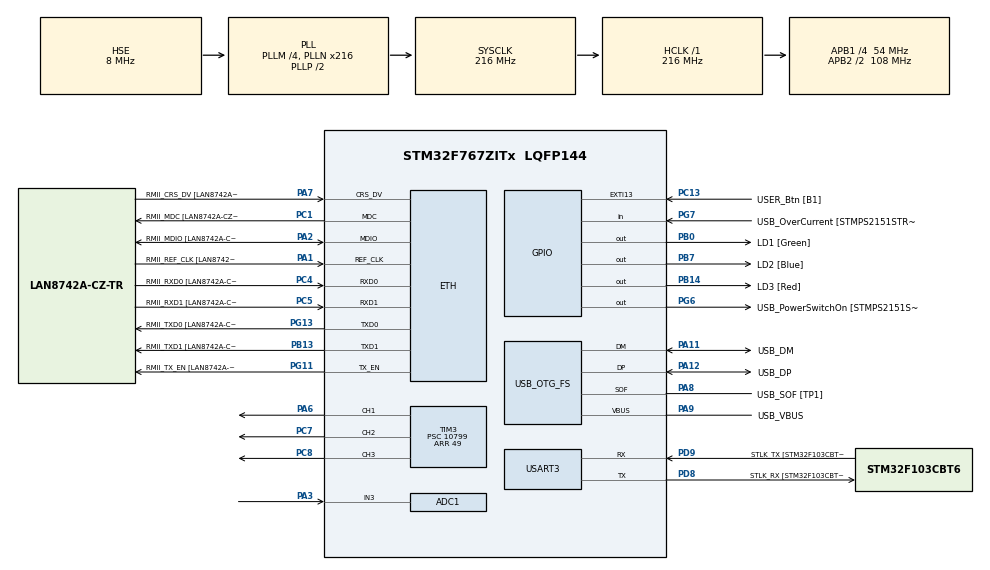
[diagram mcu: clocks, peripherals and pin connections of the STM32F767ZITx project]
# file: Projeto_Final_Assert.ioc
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ADC1.Channel-0\#ChannelRegularConversion=ADC_CHANNEL_3
ADC1.NbrOfConversionFlag=1
ADC1.Rank-0\#ChannelRegularConversion=1
ADC1.SamplingTime-0\#ChannelRegularConversion=ADC_SAMPLETIME_3CYCLES
ADC1.master=1
CORTEX_M7.default_mode_Activation=1
ETH.MediaInterface=HAL_ETH_RMII_MODE
ETH.PHY_Name=LAN8742A_PHY_ADDRESS
ETH.PHY_Value=0
ETH.PhyAddress=0
Mcu.Family=STM32F7
Mcu.Name=STM32F767ZITx
Mcu.Package=LQFP144
NVIC.PriorityGroup=NVIC_PRIORITYGROUP_4
PA1.GPIO_Label=RMII_REF_CLK [LAN8742A-CZ-TR_REFCLK0]
PA1.Mode=RMII
PA1.Signal=ETH_REF_CLK
PA10.GPIO_Label=USB_ID
PA10.Signal=USB_OTG_FS_ID
PA11.GPIO_Label=USB_DM
PA11.Mode=Device_Only
PA11.Signal=USB_OTG_FS_DM
PA12.GPIO_Label=USB_DP
PA12.Mode=Device_Only
PA12.Signal=USB_OTG_FS_DP
PA13.GPIO_Label=TMS
PA13.Mode=Serial_Wire
PA13.Signal=SYS_JTMS-SWDIO
PA14.GPIO_Label=TCK
PA14.Mode=Serial_Wire
PA14.Signal=SYS_JTCK-SWCLK
PA2.GPIO_Label=RMII_MDIO [LAN8742A-CZ-TR_MDIO]
PA2.Mode=RMII
PA2.Signal=ETH_MDIO
PA3.Signal=ADCx_IN3
PA6.Signal=S_TIM3_CH1
PA7.GPIO_Label=RMII_CRS_DV [LAN8742A-CZ-TR_CRS_DV]
PA7.Mode=RMII
PA7.Signal=ETH_CRS_DV
PA8.GPIO_Label=USB_SOF [TP1]
PA8.Mode=Activate_SOF_FS
PA8.Signal=USB_OTG_FS_SOF
PA9.GPIO_Label=USB_VBUS
PA9.Mode=Activate_VBUS
PA9.Signal=USB_OTG_FS_VBUS
PB0.GPIO_Label=LD1 [Green]
PB0.Signal=GPIO_Output
PB13.GPIO_Label=RMII_TXD1 [LAN8742A-CZ-TR_TXD1]
PB13.Mode=RMII
PB13.Signal=ETH_TXD1
PB14.GPIO_Label=LD3 [Red]
PB14.Signal=GPIO_Output
PB3.GPIO_Label=SWO
PB3.Signal=SYS_JTDO-SWO
PB7.GPIO_Label=LD2 [Blue]
PB7.Signal=GPIO_Output
PC1.GPIO_Label=RMII_MDC [LAN8742A-CZ-TR_MDC]
PC1.Mode=RMII
PC1.Signal=ETH_MDC
PC13.GPIO_Label=USER_Btn [B1]
PC13.Signal=GPXTI13
PC14/OSC32_IN.Mode=LSE-External-Oscillator
PC14/OSC32_IN.Signal=RCC_OSC32_IN
PC15/OSC32_OUT.Mode=LSE-External-Oscillator
PC15/OSC32_OUT.Signal=RCC_OSC32_OUT
PC4.GPIO_Label=RMII_RXD0 [LAN8742A-CZ-TR_RXD0]
PC4.Mode=RMII
PC4.Signal=ETH_RXD0
PC5.GPIO_Label=RMII_RXD1 [LAN8742A-CZ-TR_RXD1]
PC5.Mode=RMII
PC5.Signal=ETH_RXD1
PC7.Signal=S_TIM3_CH2
PC8.Signal=S_TIM3_CH3
PD8.GPIO_Label=STLK_RX [STM32F103CBT6_PA3]
PD8.Mode=Asynchronous
PD8.Signal=USART3_TX
PD9.GPIO_Label=STLK_TX [STM32F103CBT6_PA2]
PD9.Mode=Asynchronous
PD9.Signal=USART3_RX
PG11.GPIO_Label=RMII_TX_EN [LAN8742A-CZ-TR_TXEN]
PG11.Mode=RMII
PG11.Signal=ETH_TX_EN
PG13.GPIO_Label=RMII_TXD0 [LAN8742A-CZ-TR_TXD0]
PG13.Mode=RMII
PG13.Signal=ETH_TXD0
PG6.GPIO_Label=USB_PowerSwitchOn [STMPS2151STR_EN]
PG6.Signal=GPIO_Output
PG7.GPIO_Label=USB_OverCurrent [STMPS2151STR_FAULT]
PG7.Signal=GPIO_Input
PH0/OSC_IN.GPIO_Label=MCO [STM32F103CBT6_PA8]
PH0/OSC_IN.Mode=HSE-External-Clock-Source
PH0/OSC_IN.Signal=RCC_OSC_IN
PH1/OSC_OUT.Mode=HSE-External-Clock-Source
PH1/OSC_OUT.Signal=RCC_OSC_OUT
ProjectManager.HeapSize=0x200
ProjectManager.StackSize=0x400
ProjectManager.TargetToolchain=STM32CubeIDE
RCC.48MHZClocksFreq_Value=24000000
RCC.AHBFreq_Value=216000000
RCC.APB1CLKDivider=RCC_HCLK_DIV4
RCC.APB1Freq_Value=54000000
RCC.APB1TimFreq_Value=108000000
RCC.APB2CLKDivider=RCC_HCLK_DIV2
RCC.APB2Freq_Value=108000000
RCC.APB2TimFreq_Value=216000000
RCC.CortexFreq_Value=216000000
RCC.HCLKFreq_Value=216000000
RCC.HSE_VALUE=8000000
RCC.HSI_VALUE=16000000
RCC.PLLM=4
RCC.PLLMUL=RCC_PLL_MUL9
RCC.PLLN=216
RCC.PLLQ=9
RCC.PRESCALERUSB=RCC_USBCLKSOURCE_PLL_DIV1_5
RCC.SYSCLKFreq_VALUE=216000000
RCC.SYSCLKSource=RCC_SYSCLKSOURCE_PLLCLK
RCC.SYSCLKSourceVirtual=RCC_SYSCLKSOURCE_PLLCLK
RCC.USBFreq_Value=48000000
RCC.VCOOutputFreq_Value=432000000
SH.ADCx_IN3.0=ADC1_IN3,IN3
SH.S_TIM3_CH1.0=TIM3_CH1,PWM Generation1 CH1
SH.S_TIM3_CH2.0=TIM3_CH2,PWM Generation2 CH2
SH.S_TIM3_CH3.0=TIM3_CH3,PWM Generation3 CH3
TIM3.Channel-PWM\ Generation1\ CH1=TIM_CHANNEL_1
TIM3.Channel-PWM\ Generation2\ CH2=TIM_CHANNEL_2
TIM3.Channel-PWM\ Generation3\ CH3=TIM_CHANNEL_3
TIM3.Period=49
TIM3.Prescaler=10799
TIM6.Period=49
TIM6.Prescaler=10799
USART3.VirtualMode-Asynchronous=VM_ASYNC
USB_OTG_FS.VirtualMode=Device_Only
VP_TIM6_VS_ClockSourceINT.Mode=Enable_Timer
VP_TIM7_VS_ClockSourceINT.Mode=Enable_Timer
board=NUCLEO-F767ZI

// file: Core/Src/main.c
/* USER CODE BEGIN Header */
/**
  ******************************************************************************
  * @file           : main.c
  * @brief          : Main program body
  ******************************************************************************
  */
/* USER CODE END Header */
#include "main.h"
#include "string.h"

/* USER CODE BEGIN Includes */
#include "Bsp.h"
#include "Sampler.h"
#include "LedPwm.h"
#include "SerialCmd.h"
#include "Button.h"
#include <stdio.h>
#include <stdint.h>
#include <stdbool.h>
/* USER CODE END Includes */

#if defined ( __ICCARM__ ) /*!< IAR Compiler */
#pragma location=0x2007c000
ETH_DMADescTypeDef  DMARxDscrTab[ETH_RX_DESC_CNT]; /* Ethernet Rx DMA Descriptors */
#pragma location=0x2007c0a0
ETH_DMADescTypeDef  DMATxDscrTab[ETH_TX_DESC_CNT]; /* Ethernet Tx DMA Descriptors */

#elif defined ( __CC_ARM )  /* MDK ARM Compiler */

__attribute__((at(0x2007c000))) ETH_DMADescTypeDef  DMARxDscrTab[ETH_RX_DESC_CNT]; /* Ethernet Rx DMA Descriptors */
__attribute__((at(0x2007c0a0))) ETH_DMADescTypeDef  DMATxDscrTab[ETH_TX_DESC_CNT]; /* Ethernet Tx DMA Descriptors */

#elif defined ( __GNUC__ ) /* GNU Compiler */

ETH_DMADescTypeDef DMARxDscrTab[ETH_RX_DESC_CNT] __attribute__((section(".RxDecripSection"))); /* Ethernet Rx DMA Descriptors */
ETH_DMADescTypeDef DMATxDscrTab[ETH_TX_DESC_CNT] __attribute__((section(".TxDecripSection")));   /* Ethernet Tx DMA Descriptors */
#endif

ETH_TxPacketConfig TxConfig;

ADC_HandleTypeDef hadc1;

ETH_HandleTypeDef heth;

TIM_HandleTypeDef htim3;
TIM_HandleTypeDef htim6;
TIM_HandleTypeDef htim7;

UART_HandleTypeDef huart3;

PCD_HandleTypeDef hpcd_USB_OTG_FS;

/* USER CODE BEGIN PV */
/// Quantidade de ciclos de 5ms necessarios para completar 1 segundo (200 * 5ms = 1000ms)
#define dTICKS_PER_SECOND   200

/// Tamanho maximo seguro para o buffer de transmissao de texto da UART
#define dTX_BUFFER_SIZE     128

// Contador local para gerenciar o intervalo de 1 segundo da telemetria
uint8_t tickCounter = 0;
/* USER CODE END PV */

void SystemClock_Config(void);
static void MPU_Config(void);
static void MX_GPIO_Init(void);
static void MX_ADC1_Init(void);
static void MX_ETH_Init(void);
static void MX_USART3_UART_Init(void);
static void MX_USB_OTG_FS_PCD_Init(void);
static void MX_TIM6_Init(void);
static void MX_TIM3_Init(void);
static void MX_TIM7_Init(void);

int main(void)
{

  /* MPU Configuration--------------------------------------------------------*/
  MPU_Config();

  /* MCU Configuration--------------------------------------------------------*/

  /* Reset of all peripherals, Initializes the Flash interface and the Systick. */
  HAL_Init();

  /* Configure the system clock */
  SystemClock_Config();

  /* Initialize all configured peripherals */
  MX_GPIO_Init();
  MX_ADC1_Init();
  MX_ETH_Init();
  MX_USART3_UART_Init();
  MX_USB_OTG_FS_PCD_Init();
  MX_TIM6_Init();
  MX_TIM3_Init();
  MX_TIM7_Init();
  /* USER CODE BEGIN 2 */
  // Agora sim! O hardware principal esta ligado. Podemos iniciar os modulos:
  Bsp_Init();
  Sampler_Init();
  LedPwm_Init();
  SerialCmd_Init();
  Button_Init();
  /* USER CODE END 2 */

  /* Infinite loop */
  while (1)
  {

    /* USER CODE BEGIN 3 */
    // Processa de forma continua as entradas de interface (Nao bloqueantes)
    Button_Process();
    SerialCmd_Process();

    // 3.1. Verificacao do gatilho do temporizador de amostragem (A cada 5 ms)
    if (Bsp_GetSamplingFlag() == true)
    {
        Bsp_ClearSamplingFlag();

        // Incrementa a contagem de tempo para a telemetria de 1 segundo
        tickCounter++;

        // REQUISITO 3.5: Se o botao congelou a operacao, pula a leitura e atuacao
        if (Button_IsSystemFrozen() == false)
        {
            // Executa a leitura do ADC por Polling no laco principal (Requisito 3.1)
            uint16_t rawAdc = Bsp_ReadAdc();

            // Envia a amostra bruta para ser acumulada no filtro de media (Requisito 3.2)
            Sampler_ProcessNewSample(rawAdc);
        }

        // 3.2. Verifica se a janela de filtragem (100 amostras / 500 ms) foi concluida
        if (Sampler_IsNewAverageReady() == true)
        {
            Sampler_ClearAverageFlag();

            // Recupera a media convertida para 0 a 100%
            uint8_t currentVolume = Sampler_GetFilteredPercentage();

            // Aplica a nova intensidade apenas ao LED selecionado no momento (Requisito 3.3)
            LedPwm_UpdateActiveLedIntensity(currentVolume);
        }

        // REQUISITO 3.6: Verifica se transcorreu o intervalo de 1 segundo (200 ciclos de 5ms)
        if (tickCounter >= dTICKS_PER_SECOND)
        {
            tickCounter = 0; // Reinicia o temporizador local da telemetria

            char txBuffer[dTX_BUFFER_SIZE];

            // Determina a string de estado de congelamento exigida pela especificacao
            const char *stateStr = (Button_IsSystemFrozen() == true) ? "OFF" : "ON";

            // Formata a string de saida seguindo rigorosamente o padrao exato exigido
            snprintf(txBuffer, dTX_BUFFER_SIZE,
                     "VALUE: %u%% || LED1: %u%% aceso || LED2: %u%% aceso || LED3: %u%% aceso || STATE: %s\r\n",
                     Sampler_GetFilteredPercentage(),
                     LedPwm_GetLedDuty(eBSP_LED_1),
                     LedPwm_GetLedDuty(eBSP_LED_2),
                     LedPwm_GetLedDuty(eBSP_LED_3),
                     stateStr);

            // Transmite os dados formatados via USART3
            Bsp_TransmitUartString(txBuffer);
        }
    }
  }
  /* USER CODE END 3 */
}

void SystemClock_Config(void)
{
  RCC_OscInitTypeDef RCC_OscInitStruct = {0};
  RCC_ClkInitTypeDef RCC_ClkInitStruct = {0};

  /** Configure LSE Drive Capability
  */
  HAL_PWR_EnableBkUpAccess();

  /** Configure the main internal regulator output voltage
  */
  __HAL_RCC_PWR_CLK_ENABLE();
  __HAL_PWR_VOLTAGESCALING_CONFIG(PWR_REGULATOR_VOLTAGE_SCALE1);

  /** Initializes the RCC Oscillators according to the specified parameters
  * in the RCC_OscInitTypeDef structure.
  */
  RCC_OscInitStruct.OscillatorType = RCC_OSCILLATORTYPE_HSE;
  RCC_OscInitStruct.HSEState = RCC_HSE_BYPASS;
  RCC_OscInitStruct.PLL.PLLState = RCC_PLL_ON;
  RCC_OscInitStruct.PLL.PLLSource = RCC_PLLSOURCE_HSE;
  RCC_OscInitStruct.PLL.PLLM = 4;
  RCC_OscInitStruct.PLL.PLLN = 216;
  RCC_OscInitStruct.PLL.PLLP = RCC_PLLP_DIV2;
  RCC_OscInitStruct.PLL.PLLQ = 9;
  RCC_OscInitStruct.PLL.PLLR = 2;
  if (HAL_RCC_OscConfig(&RCC_OscInitStruct) != HAL_OK)
  {
    Error_Handler();
  }

  /** Activate the Over-Drive mode
  */
  if (HAL_PWREx_EnableOverDrive() != HAL_OK)
  {
    Error_Handler();
  }

  /** Initializes the CPU, AHB and APB buses clocks
  */
  RCC_ClkInitStruct.ClockType = RCC_CLOCKTYPE_HCLK|RCC_CLOCKTYPE_SYSCLK
                              |RCC_CLOCKTYPE_PCLK1|RCC_CLOCKTYPE_PCLK2;
  RCC_ClkInitStruct.SYSCLKSource = RCC_SYSCLKSOURCE_PLLCLK;
  RCC_ClkInitStruct.AHBCLKDivider = RCC_SYSCLK_DIV1;
  RCC_ClkInitStruct.APB1CLKDivider = RCC_HCLK_DIV4;
  RCC_ClkInitStruct.APB2CLKDivider = RCC_HCLK_DIV2;

  if (HAL_RCC_ClockConfig(&RCC_ClkInitStruct, FLASH_LATENCY_7) != HAL_OK)
  {
    Error_Handler();
  }
}

static void MX_ADC1_Init(void)
{

  ADC_ChannelConfTypeDef sConfig = {0};

  /** Configure the global features of the ADC (Clock, Resolution, Data Alignment and number of conversion)
  */
  hadc1.Instance = ADC1;
  hadc1.Init.ClockPrescaler = ADC_CLOCK_SYNC_PCLK_DIV4;
  hadc1.Init.Resolution = ADC_RESOLUTION_12B;
  hadc1.Init.ScanConvMode = ADC_SCAN_DISABLE;
  hadc1.Init.ContinuousConvMode = DISABLE;
  hadc1.Init.DiscontinuousConvMode = DISABLE;
  hadc1.Init.ExternalTrigConvEdge = ADC_EXTERNALTRIGCONVEDGE_NONE;
  hadc1.Init.ExternalTrigConv = ADC_SOFTWARE_START;
  hadc1.Init.DataAlign = ADC_DATAALIGN_RIGHT;
  hadc1.Init.NbrOfConversion = 1;
  hadc1.Init.DMAContinuousRequests = DISABLE;
  hadc1.Init.EOCSelection = ADC_EOC_SINGLE_CONV;
  if (HAL_ADC_Init(&hadc1) != HAL_OK)
  {
    Error_Handler();
  }

  /** Configure for the selected ADC regular channel its corresponding rank in the sequencer and its sample time.
  */
  sConfig.Channel = ADC_CHANNEL_3;
  sConfig.Rank = ADC_REGULAR_RANK_1;
  sConfig.SamplingTime = ADC_SAMPLETIME_3CYCLES;
  if (HAL_ADC_ConfigChannel(&hadc1, &sConfig) != HAL_OK)
  {
    Error_Handler();
  }

}

static void MX_ETH_Init(void)
{

   static uint8_t MACAddr[6];

  heth.Instance = ETH;
  MACAddr[0] = 0x00;
  MACAddr[1] = 0x80;
  MACAddr[2] = 0xE1;
  MACAddr[3] = 0x00;
  MACAddr[4] = 0x00;
  MACAddr[5] = 0x00;
  heth.Init.MACAddr = &MACAddr[0];
  heth.Init.MediaInterface = HAL_ETH_RMII_MODE;
  heth.Init.TxDesc = DMATxDscrTab;
  heth.Init.RxDesc = DMARxDscrTab;
  heth.Init.RxBuffLen = 1524;

  if (HAL_ETH_Init(&heth) != HAL_OK)
  {
    Error_Handler();
  }

  memset(&TxConfig, 0 , sizeof(ETH_TxPacketConfig));
  TxConfig.Attributes = ETH_TX_PACKETS_FEATURES_CSUM | ETH_TX_PACKETS_FEATURES_CRCPAD;
  TxConfig.ChecksumCtrl = ETH_CHECKSUM_IPHDR_PAYLOAD_INSERT_PHDR_CALC;
  TxConfig.CRCPadCtrl = ETH_CRC_PAD_INSERT;

}

static void MX_TIM3_Init(void)
{

  TIM_MasterConfigTypeDef sMasterConfig = {0};
  TIM_OC_InitTypeDef sConfigOC = {0};

  htim3.Instance = TIM3;
  htim3.Init.Prescaler = 10799;
  htim3.Init.CounterMode = TIM_COUNTERMODE_UP;
  htim3.Init.Period = 49;
  htim3.Init.ClockDivision = TIM_CLOCKDIVISION_DIV1;
  htim3.Init.AutoReloadPreload = TIM_AUTORELOAD_PRELOAD_DISABLE;
  if (HAL_TIM_PWM_Init(&htim3) != HAL_OK)
  {
    Error_Handler();
  }
  sMasterConfig.MasterOutputTrigger = TIM_TRGO_RESET;
  sMasterConfig.MasterSlaveMode = TIM_MASTERSLAVEMODE_DISABLE;
  if (HAL_TIMEx_MasterConfigSynchronization(&htim3, &sMasterConfig) != HAL_OK)
  {
    Error_Handler();
  }
  sConfigOC.OCMode = TIM_OCMODE_PWM1;
  sConfigOC.Pulse = 0;
  sConfigOC.OCPolarity = TIM_OCPOLARITY_HIGH;
  sConfigOC.OCFastMode = TIM_OCFAST_DISABLE;
  if (HAL_TIM_PWM_ConfigChannel(&htim3, &sConfigOC, TIM_CHANNEL_1) != HAL_OK)
  {
    Error_Handler();
  }
  if (HAL_TIM_PWM_ConfigChannel(&htim3, &sConfigOC, TIM_CHANNEL_2) != HAL_OK)
  {
    Error_Handler();
  }
  if (HAL_TIM_PWM_ConfigChannel(&htim3, &sConfigOC, TIM_CHANNEL_3) != HAL_OK)
  {
    Error_Handler();
  }
  HAL_TIM_MspPostInit(&htim3);

}

static void MX_TIM6_Init(void)
{

  TIM_MasterConfigTypeDef sMasterConfig = {0};

  htim6.Instance = TIM6;
  htim6.Init.Prescaler = 10799;
  htim6.Init.CounterMode = TIM_COUNTERMODE_UP;
  htim6.Init.Period = 49;
  htim6.Init.AutoReloadPreload = TIM_AUTORELOAD_PRELOAD_DISABLE;
  if (HAL_TIM_Base_Init(&htim6) != HAL_OK)
  {
    Error_Handler();
  }
  sMasterConfig.MasterOutputTrigger = TIM_TRGO_RESET;
  sMasterConfig.MasterSlaveMode = TIM_MASTERSLAVEMODE_DISABLE;
  if (HAL_TIMEx_MasterConfigSynchronization(&htim6, &sMasterConfig) != HAL_OK)
  {
    Error_Handler();
  }

}

static void MX_TIM7_Init(void)
{

  TIM_MasterConfigTypeDef sMasterConfig = {0};

  htim7.Instance = TIM7;
  htim7.Init.Prescaler = 0;
  htim7.Init.CounterMode = TIM_COUNTERMODE_UP;
  htim7.Init.Period = 65535;
  htim7.Init.AutoReloadPreload = TIM_AUTORELOAD_PRELOAD_DISABLE;
  if (HAL_TIM_Base_Init(&htim7) != HAL_OK)
  {
    Error_Handler();
  }
  sMasterConfig.MasterOutputTrigger = TIM_TRGO_RESET;
  sMasterConfig.MasterSlaveMode = TIM_MASTERSLAVEMODE_DISABLE;
  if (HAL_TIMEx_MasterConfigSynchronization(&htim7, &sMasterConfig) != HAL_OK)
  {
    Error_Handler();
  }

}

static void MX_USART3_UART_Init(void)
{

  huart3.Instance = USART3;
  huart3.Init.BaudRate = 115200;
  huart3.Init.WordLength = UART_WORDLENGTH_8B;
  huart3.Init.StopBits = UART_STOPBITS_1;
  huart3.Init.Parity = UART_PARITY_NONE;
  huart3.Init.Mode = UART_MODE_TX_RX;
  huart3.Init.HwFlowCtl = UART_HWCONTROL_NONE;
  huart3.Init.OverSampling = UART_OVERSAMPLING_16;
  huart3.Init.OneBitSampling = UART_ONE_BIT_SAMPLE_DISABLE;
  huart3.AdvancedInit.AdvFeatureInit = UART_ADVFEATURE_NO_INIT;
  if (HAL_UART_Init(&huart3) != HAL_OK)
  {
    Error_Handler();
  }

}

static void MX_USB_OTG_FS_PCD_Init(void)
{

  hpcd_USB_OTG_FS.Instance = USB_OTG_FS;
  hpcd_USB_OTG_FS.Init.dev_endpoints = 6;
  hpcd_USB_OTG_FS.Init.speed = PCD_SPEED_FULL;
  hpcd_USB_OTG_FS.Init.dma_enable = DISABLE;
  hpcd_USB_OTG_FS.Init.phy_itface = PCD_PHY_EMBEDDED;
  hpcd_USB_OTG_FS.Init.Sof_enable = ENABLE;
  hpcd_USB_OTG_FS.Init.low_power_enable = DISABLE;
  hpcd_USB_OTG_FS.Init.lpm_enable = DISABLE;
  hpcd_USB_OTG_FS.Init.vbus_sensing_enable = ENABLE;
  hpcd_USB_OTG_FS.Init.use_dedicated_ep1 = DISABLE;
  if (HAL_PCD_Init(&hpcd_USB_OTG_FS) != HAL_OK)
  {
    Error_Handler();
  }

}

static void MX_GPIO_Init(void)
{
  GPIO_InitTypeDef GPIO_InitStruct = {0};

  /* GPIO Ports Clock Enable */
  __HAL_RCC_GPIOC_CLK_ENABLE();
  __HAL_RCC_GPIOH_CLK_ENABLE();
  __HAL_RCC_GPIOA_CLK_ENABLE();
  __HAL_RCC_GPIOB_CLK_ENABLE();
  __HAL_RCC_GPIOD_CLK_ENABLE();
  __HAL_RCC_GPIOG_CLK_ENABLE();

  /*Configure GPIO pin Output Level */
  HAL_GPIO_WritePin(GPIOB, LD1_Pin|LD3_Pin|LD2_Pin, GPIO_PIN_RESET);

  /*Configure GPIO pin Output Level */
  HAL_GPIO_WritePin(USB_PowerSwitchOn_GPIO_Port, USB_PowerSwitchOn_Pin, GPIO_PIN_RESET);

  /*Configure GPIO pin : USER_Btn_Pin */
  GPIO_InitStruct.Pin = USER_Btn_Pin;
  GPIO_InitStruct.Mode = GPIO_MODE_IT_RISING;
  GPIO_InitStruct.Pull = GPIO_NOPULL;
  HAL_GPIO_Init(USER_Btn_GPIO_Port, &GPIO_InitStruct);

  /*Configure GPIO pins : LD1_Pin LD3_Pin LD2_Pin */
  GPIO_InitStruct.Pin = LD1_Pin|LD3_Pin|LD2_Pin;
  GPIO_InitStruct.Mode = GPIO_MODE_OUTPUT_PP;
  GPIO_InitStruct.Pull = GPIO_NOPULL;
  GPIO_InitStruct.Speed = GPIO_SPEED_FREQ_LOW;
  HAL_GPIO_Init(GPIOB, &GPIO_InitStruct);

  /*Configure GPIO pin : USB_PowerSwitchOn_Pin */
  GPIO_InitStruct.Pin = USB_PowerSwitchOn_Pin;
  GPIO_InitStruct.Mode = GPIO_MODE_OUTPUT_PP;
  GPIO_InitStruct.Pull = GPIO_NOPULL;
  GPIO_InitStruct.Speed = GPIO_SPEED_FREQ_LOW;
  HAL_GPIO_Init(USB_PowerSwitchOn_GPIO_Port, &GPIO_InitStruct);

  /*Configure GPIO pin : USB_OverCurrent_Pin */
  GPIO_InitStruct.Pin = USB_OverCurrent_Pin;
  GPIO_InitStruct.Mode = GPIO_MODE_INPUT;
  GPIO_InitStruct.Pull = GPIO_NOPULL;
  HAL_GPIO_Init(USB_OverCurrent_GPIO_Port, &GPIO_InitStruct);

}

/* USER CODE BEGIN 4 */

int __io_putchar(int ch)
{
    HAL_UART_Transmit(&huart3, (uint8_t *)&ch, 1, HAL_MAX_DELAY);
    return ch;
}

/* USER CODE END 4 */

 /* MPU Configuration */

void MPU_Config(void)
{
  MPU_Region_InitTypeDef MPU_InitStruct = {0};

  /* Disables the MPU */
  HAL_MPU_Disable();

  /** Initializes and configures the Region and the memory to be protected
  */
  MPU_InitStruct.Enable = MPU_REGION_ENABLE;
  MPU_InitStruct.Number = MPU_REGION_NUMBER0;
  MPU_InitStruct.BaseAddress = 0x0;
  MPU_InitStruct.Size = MPU_REGION_SIZE_4GB;
  MPU_InitStruct.SubRegionDisable = 0x87;
  MPU_InitStruct.TypeExtField = MPU_TEX_LEVEL0;
  MPU_InitStruct.AccessPermission = MPU_REGION_NO_ACCESS;
  MPU_InitStruct.DisableExec = MPU_INSTRUCTION_ACCESS_DISABLE;
  MPU_InitStruct.IsShareable = MPU_ACCESS_SHAREABLE;
  MPU_InitStruct.IsCacheable = MPU_ACCESS_NOT_CACHEABLE;
  MPU_InitStruct.IsBufferable = MPU_ACCESS_NOT_BUFFERABLE;

  HAL_MPU_ConfigRegion(&MPU_InitStruct);
  /* Enables the MPU */
  HAL_MPU_Enable(MPU_PRIVILEGED_DEFAULT);

}

void Error_Handler(void)
{
  __disable_irq();
  while (1)
  {
  }
}
